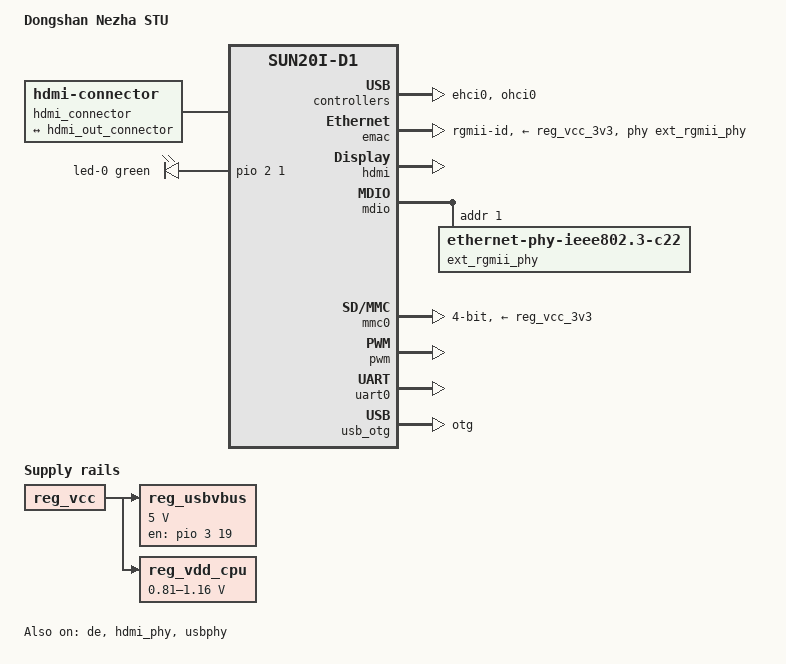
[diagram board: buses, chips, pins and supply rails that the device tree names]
// SPDX-License-Identifier: (GPL-2.0+ or MIT)
// Copyright (C) 2022 Samuel Holland <samuel@sholland.org>

#include <dt-bindings/gpio/gpio.h>
#include <dt-bindings/leds/common.h>

/dts-v1/;

#include "sun20i-d1.dtsi"
#include "sun20i-common-regulators.dtsi"

/ {
	model = "Dongshan Nezha STU";
	compatible = "100ask,dongshan-nezha-stu", "allwinner,sun20i-d1";

	aliases {
		ethernet0 = &emac;
		serial0 = &uart0;
	};

	chosen {
		stdout-path = "serial0:115200n8";
	};

	hdmi_connector: connector {
		compatible = "hdmi-connector";
		type = "a";

		port {
			hdmi_connector_in: endpoint {
				remote-endpoint = <&hdmi_out_connector>;
			};
		};
	};

	leds {
		compatible = "gpio-leds";

		led-0 {
			color = <LED_COLOR_ID_GREEN>;
			function = LED_FUNCTION_STATUS;
			gpios = <&pio 2 1 GPIO_ACTIVE_HIGH>; /* PC1 */
		};
	};

	reg_usbvbus: usbvbus {
		compatible = "regulator-fixed";
		regulator-name = "usbvbus";
		regulator-min-microvolt = <5000000>;
		regulator-max-microvolt = <5000000>;
		gpio = <&pio 3 19 GPIO_ACTIVE_HIGH>; /* PD19 */
		enable-active-high;
		vin-supply = <&reg_vcc>;
	};

	reg_vdd_cpu: vdd-cpu {
		compatible = "pwm-regulator";
		pwms = <&pwm 0 50000 0>;
		pwm-supply = <&reg_vcc>;
		regulator-name = "vdd-cpu";
		regulator-min-microvolt = <810000>;
		regulator-max-microvolt = <1160000>;
	};
};

&cpu0 {
	cpu-supply = <&reg_vdd_cpu>;
};

&dcxo {
	clock-frequency = <24000000>;
};

&de {
	status = "okay";
};

&ehci0 {
	status = "okay";
};

&emac {
	pinctrl-0 = <&rgmii_pe_pins>;
	pinctrl-names = "default";
	phy-handle = <&ext_rgmii_phy>;
	phy-mode = "rgmii-id";
	phy-supply = <&reg_vcc_3v3>;
	status = "okay";
};

&hdmi {
	status = "okay";
};

&hdmi_out {
	hdmi_out_connector: endpoint {
		remote-endpoint = <&hdmi_connector_in>;
	};
};

&hdmi_phy {
	status = "okay";
};

&mdio {
	ext_rgmii_phy: ethernet-phy@1 {
		compatible = "ethernet-phy-ieee802.3-c22";
		reg = <1>;
	};
};

&mmc0 {
	broken-cd;
	bus-width = <4>;
	disable-wp;
	vmmc-supply = <&reg_vcc_3v3>;
	vqmmc-supply = <&reg_vcc_3v3>;
	pinctrl-0 = <&mmc0_pins>;
	pinctrl-names = "default";
	status = "okay";
};

&ohci0 {
	status = "okay";
};

&pwm {
	pinctrl-0 = <&pwm0_pd16_pin>;
	pinctrl-names = "default";
	status = "okay";
};

&uart0 {
	pinctrl-0 = <&uart0_pb8_pins>;
	pinctrl-names = "default";
	status = "okay";
};

&usb_otg {
	dr_mode = "otg";
	status = "okay";
};

&usbphy {
	usb0_id_det-gpios = <&pio 3 21 GPIO_ACTIVE_HIGH>; /* PD21 */
	usb0_vbus_det-gpios = <&pio 3 20 GPIO_ACTIVE_HIGH>; /* PD20 */
	usb0_vbus-supply = <&reg_usbvbus>;
	status = "okay";
};
